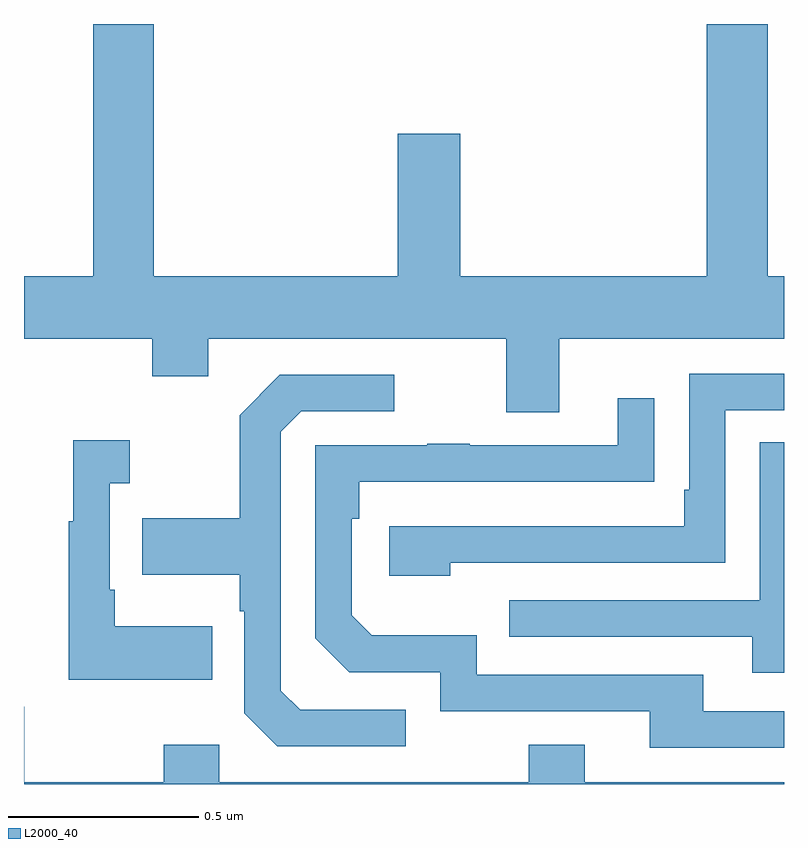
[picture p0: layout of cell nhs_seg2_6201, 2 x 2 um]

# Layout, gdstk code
import gdstk
lib = gdstk.Library(unit=1e-6, precision=1e-09)
def P(c, l, *ps):  # polygons
    for p in ps: c.add(gdstk.Polygon(p, *l))
L2000_40 = (2000, 40)

nhs_seg2_6201 = lib.new_cell('nhs_seg2_6201')
P(nhs_seg2_6201, L2000_40, [(189.409,644.972),(190,644.972),(190,645.136),(189.957,645.136),(189.957,645.8),(189.797,645.8),(189.797,645.136),(189.148,645.136),(189.148,645.511),(188.984,645.511),(188.984,645.136),(188.342,645.136),(188.342,645.8),(188.182,645.8),(188.182,645.136),(188,645.136),(188,644.972),(188.338,644.972),(188.338,644.873),(188.485,644.873),(188.485,644.972),(189.269,644.972),(189.269,644.778),(189.409,644.778)],
  [(189.122,644.382),(189.846,644.382),(189.846,644.784),(190,644.784),(190,644.88),(189.75,644.88),(189.75,644.575),(189.737,644.575),(189.737,644.478),(188.961,644.478),(188.961,644.348),(189.122,644.348)],
  [(189.004,643.995),(188.727,643.995),(188.676,644.046),(188.676,644.727),(188.73,644.781),(188.974,644.781),(188.974,644.877),(188.673,644.877),(188.568,644.771),(188.568,644.499),(188.311,644.499),(188.311,644.351),(188.568,644.351),(188.568,644.255),(188.58,644.255),(188.58,643.986),(188.667,643.899),(189.004,643.899)],
  [(190,643.992),(189.787,643.992),(189.787,644.088),(189.192,644.088),(189.192,644.191),(188.915,644.191),(188.862,644.244),(188.862,644.498),(188.882,644.498),(188.882,644.595),(189.557,644.595),(189.557,644.596),(189.659,644.596),(189.659,644.815),(189.563,644.815),(189.563,644.691),(189.173,644.691),(189.173,644.696),(189.061,644.696),(189.061,644.691),(188.766,644.691),(188.766,644.184),(188.856,644.094),(189.096,644.094),(189.096,643.992),(189.647,643.992),(189.647,643.896),(190,643.896)],
  [(188.495,644.215),(188.239,644.215),(188.239,644.311),(188.226,644.311),(188.226,644.591),(188.278,644.591),(188.278,644.704),(188.129,644.704),(188.129,644.491),(188.118,644.491),(188.118,644.075),(188.495,644.075)],
  [(190,644.699),(189.936,644.699),(189.936,644.283),(189.277,644.283),(189.277,644.187),(189.917,644.187),(189.917,644.093),(190,644.093)],
  [(190,643.804),(189.475,643.804),(189.475,643.903),(189.328,643.903),(189.328,643.804),(188.514,643.804),(188.514,643.903),(188.368,643.903),(188.368,643.804),(188.001,643.804),(188.001,644.003),(188,644.003),(188,643.8),(190,643.8)])

lib.write_gds('nhs_seg2_6201.gds')
